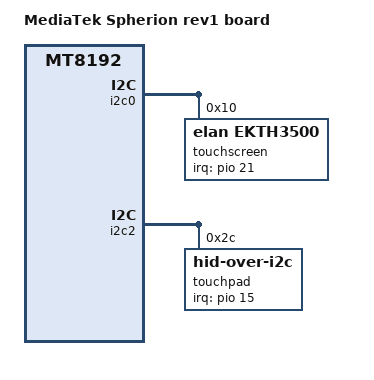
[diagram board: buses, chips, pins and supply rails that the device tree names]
// SPDX-License-Identifier: (GPL-2.0 OR MIT)
/*
 * Copyright 2021 Google LLC
 */
/dts-v1/;
#include "mt8192-asurada.dtsi"
#include "mt8192-asurada-audio-rt1015p-rt5682.dtsi"

/ {
	model = "MediaTek Spherion rev1 board";
	compatible = "google,spherion-rev1", "google,spherion", "mediatek,mt8192";
};

&i2c0 {
	/* elan touchscreen */
	touchscreen: touchscreen@10 {
		compatible =  "elan,ekth3500";
		reg = <0x10>;
		interrupt-parent = <&pio>;
		interrupts = <21 IRQ_TYPE_LEVEL_LOW>;

		pinctrl-names = "default";
		pinctrl-0 = <&touchscreen_pins>;
	};
};

&i2c2 {
	/* synaptics touchpad */
	touchpad@2c {
		compatible = "hid-over-i2c";
		reg = <0x2c>;
		hid-descr-addr = <0x20>;

		pinctrl-names = "default";
		pinctrl-0 = <&touchpad_pins>;

		interrupt-parent = <&pio>;
		interrupts = <15 IRQ_TYPE_LEVEL_LOW>;

		wakeup-source;
	};
};
